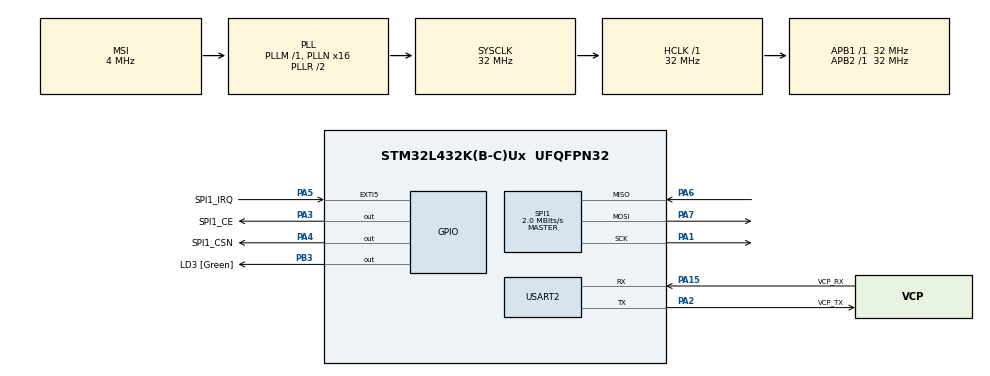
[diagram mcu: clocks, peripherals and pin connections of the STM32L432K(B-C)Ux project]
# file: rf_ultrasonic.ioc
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Mcu.Family=STM32L4
PA6.Mode=Full_Duplex_Master
RCC.CortexFreq_Value=32000000
SPI1.VirtualType=VM_MASTER
PA0.GPIO_Label=MCO [High speed clock in]
PA15\ (JTDI).Signal=USART2_RX
PC15-OSC32_OUT\ (PC15).Mode=LSE-External-Oscillator
RCC.SYSCLKSource=RCC_SYSCLKSOURCE_PLLCLK
ProjectManager.StackSize=0x400
PB3\ (JTDO-TRACESWO).Signal=GPIO_Output
PC14-OSC32_IN\ (PC14).Mode=LSE-External-Oscillator
PA14\ (JTCK-SWCLK).Signal=SYS_JTCK-SWCLK
PA15\ (JTDI).Mode=Asynchronous
SPI1.Direction=SPI_DIRECTION_2LINES
RCC.HCLKFreq_Value=32000000
RCC.APB2TimFreq_Value=32000000
SPI1.CalculateBaudRate=2.0 MBits/s
RCC.AHBFreq_Value=32000000
RCC.HSE_VALUE=8000000
USART2.VirtualMode-Asynchronous=VM_ASYNC
RCC.PLLMUL=RCC_PLLMUL_4
SPI1.DataSize=SPI_DATASIZE_8BIT
PA0.Mode=HSE-External-Clock-Source-for-LittleOrca
PA0.Signal=RCC_CK_IN
Mcu.Package=UFQFPN32
PA6.Signal=SPI1_MISO
PA2.GPIO_Label=VCP_TX
RCC.APB1TimFreq_Value=32000000
PA13\ (JTMS-SWDIO).Signal=SYS_JTMS-SWDIO
SPI1.BaudRatePrescaler=SPI_BAUDRATEPRESCALER_16
PA4.GPIO_Label=SPI1_CSN
RCC.HSI48_VALUE=48000000
PA3.Signal=GPIO_Output
RCC.MSI_VALUE=4000000
PA14\ (JTCK-SWCLK).Mode=Serial_Wire
PA7.Mode=Full_Duplex_Master
PC15-OSC32_OUT\ (PC15).Signal=RCC_OSC32_OUT
PA14\ (JTCK-SWCLK).GPIO_Label=SWCLK
PB3\ (JTDO-TRACESWO).GPIO_Label=LD3 [Green]
RCC.HSI16_VALUE=16000000
ProjectManager.TargetToolchain=STM32CubeIDE
PA1.Signal=SPI1_SCK
PA5.Signal=GPXTI5
board=NUCLEO-L432KC
RCC.VCOOutputFreq_Value=64000000
RCC.APB2Freq_Value=32000000
PA1.Mode=Full_Duplex_Master
PA13\ (JTMS-SWDIO).GPIO_Label=SWDIO
SPI1.Mode=SPI_MODE_MASTER
PA15\ (JTDI).GPIO_Label=VCP_RX
Mcu.Name=STM32L432K(B-C)Ux
PA2.Signal=USART2_TX
PA13\ (JTMS-SWDIO).Mode=Serial_Wire
PA4.Signal=GPIO_Output
RCC.SYSCLKFreq_VALUE=32000000
PA5.GPIO_Label=SPI1_IRQ
PC14-OSC32_IN\ (PC14).Signal=RCC_OSC32_IN
ProjectManager.HeapSize=0x200
RCC.HSI_VALUE=16000000
NVIC.PriorityGroup=NVIC_PRIORITYGROUP_4
RCC.PLLN=16
PA2.Mode=Asynchronous
RCC.APB1Freq_Value=32000000
PA3.GPIO_Label=SPI1_CE
PA7.Signal=SPI1_MOSI

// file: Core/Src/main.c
/* USER CODE BEGIN Header */
/**
  ******************************************************************************
  * @file           : main.c
  * @brief          : Main program body
  ******************************************************************************
  * @attention
  *
  * <h2><center>&copy; Copyright (c) 2021 STMicroelectronics.
  * All rights reserved.</center></h2>
  *
  * This software component is licensed by ST under BSD 3-Clause license,
  * the "License"; You may not use this file except in compliance with the
  * License. You may obtain a copy of the License at:
  *                        opensource.org/licenses/BSD-3-Clause
  *
  ******************************************************************************
  */
/* USER CODE END Header */
#include "main.h"

/* USER CODE BEGIN Includes */
#include "stdio.h"
#include "nRF24_Defs.h"
#include "nRF24.h"
/* USER CODE END Includes */

SPI_HandleTypeDef hspi1;

UART_HandleTypeDef huart2;

/* USER CODE BEGIN PV */
volatile uint8_t nrf24_rx_flag, nrf24_tx_flag, nrf24_mr_flag;
uint8_t Nrf24_Message[NRF24_PAYLOAD_SIZE];
uint8_t Message[32];
uint8_t MessageLength;

struct
{
	float vbat;
	float distance;
}rf_msg;

union
{
	uint32_t rf_msg_byte;
	struct
	{
		float vbat;
		float distance;
	};
} rf_msg_2;

/* USER CODE END PV */

void SystemClock_Config(void);
static void MX_GPIO_Init(void);
static void MX_USART2_UART_Init(void);
static void MX_SPI1_Init(void);

int main(void)
{

  /* MCU Configuration--------------------------------------------------------*/

  /* Reset of all peripherals, Initializes the Flash interface and the Systick. */
  HAL_Init();

  /* Configure the system clock */
  SystemClock_Config();

  /* Initialize all configured peripherals */
  MX_GPIO_Init();
  MX_USART2_UART_Init();
  MX_SPI1_Init();
  /* USER CODE BEGIN 2 */
  nRF24_Init(&hspi1);
  nRF24_SetRXAddress(0, "RX");
  nRF24_SetTXAddress("TX");
  nRF24_TX_Mode();
  uint32_t i;
  rf_msg.vbat = 1.2345678;
  rf_msg.distance = 87.654321;

  rf_msg_2.vbat = 1.2345678;
  rf_msg_2.distance = 87.654321;
  /* USER CODE END 2 */

  /* Infinite loop */
  /* USER CODE BEGIN WHILE */
  while (1)
  {
	  MessageLength = sprintf( Message, "%lx%lx", *(uint32_t*)&rf_msg.vbat, *(uint32_t*)&rf_msg.distance );
	  //MessageLength = sprintf(Message, "%lx", rf_msg_2.rf_msg_byte);

	  nRF24_WriteTXPayload(Message);
	  HAL_Delay(1);
	  nRF24_WaitTX();
	  HAL_Delay(1000);
    /* USER CODE END WHILE */

  }
}

void SystemClock_Config(void)
{
  RCC_OscInitTypeDef RCC_OscInitStruct = {0};
  RCC_ClkInitTypeDef RCC_ClkInitStruct = {0};
  RCC_PeriphCLKInitTypeDef PeriphClkInit = {0};

  /** Configure LSE Drive Capability
  */
  HAL_PWR_EnableBkUpAccess();
  __HAL_RCC_LSEDRIVE_CONFIG(RCC_LSEDRIVE_LOW);
  /** Initializes the RCC Oscillators according to the specified parameters
  * in the RCC_OscInitTypeDef structure.
  */
  RCC_OscInitStruct.OscillatorType = RCC_OSCILLATORTYPE_LSE|RCC_OSCILLATORTYPE_MSI;
  RCC_OscInitStruct.LSEState = RCC_LSE_ON;
  RCC_OscInitStruct.MSIState = RCC_MSI_ON;
  RCC_OscInitStruct.MSICalibrationValue = 0;
  RCC_OscInitStruct.MSIClockRange = RCC_MSIRANGE_6;
  RCC_OscInitStruct.PLL.PLLState = RCC_PLL_ON;
  RCC_OscInitStruct.PLL.PLLSource = RCC_PLLSOURCE_MSI;
  RCC_OscInitStruct.PLL.PLLM = 1;
  RCC_OscInitStruct.PLL.PLLN = 16;
  RCC_OscInitStruct.PLL.PLLP = RCC_PLLP_DIV7;
  RCC_OscInitStruct.PLL.PLLQ = RCC_PLLQ_DIV2;
  RCC_OscInitStruct.PLL.PLLR = RCC_PLLR_DIV2;
  if (HAL_RCC_OscConfig(&RCC_OscInitStruct) != HAL_OK)
  {
    Error_Handler();
  }
  /** Initializes the CPU, AHB and APB buses clocks
  */
  RCC_ClkInitStruct.ClockType = RCC_CLOCKTYPE_HCLK|RCC_CLOCKTYPE_SYSCLK
                              |RCC_CLOCKTYPE_PCLK1|RCC_CLOCKTYPE_PCLK2;
  RCC_ClkInitStruct.SYSCLKSource = RCC_SYSCLKSOURCE_PLLCLK;
  RCC_ClkInitStruct.AHBCLKDivider = RCC_SYSCLK_DIV1;
  RCC_ClkInitStruct.APB1CLKDivider = RCC_HCLK_DIV1;
  RCC_ClkInitStruct.APB2CLKDivider = RCC_HCLK_DIV1;

  if (HAL_RCC_ClockConfig(&RCC_ClkInitStruct, FLASH_LATENCY_1) != HAL_OK)
  {
    Error_Handler();
  }
  PeriphClkInit.PeriphClockSelection = RCC_PERIPHCLK_USART2;
  PeriphClkInit.Usart2ClockSelection = RCC_USART2CLKSOURCE_PCLK1;
  if (HAL_RCCEx_PeriphCLKConfig(&PeriphClkInit) != HAL_OK)
  {
    Error_Handler();
  }
  /** Configure the main internal regulator output voltage
  */
  if (HAL_PWREx_ControlVoltageScaling(PWR_REGULATOR_VOLTAGE_SCALE1) != HAL_OK)
  {
    Error_Handler();
  }
  /** Enable MSI Auto calibration
  */
  HAL_RCCEx_EnableMSIPLLMode();
}

static void MX_SPI1_Init(void)
{

  /* SPI1 parameter configuration*/
  hspi1.Instance = SPI1;
  hspi1.Init.Mode = SPI_MODE_MASTER;
  hspi1.Init.Direction = SPI_DIRECTION_2LINES;
  hspi1.Init.DataSize = SPI_DATASIZE_8BIT;
  hspi1.Init.CLKPolarity = SPI_POLARITY_LOW;
  hspi1.Init.CLKPhase = SPI_PHASE_1EDGE;
  hspi1.Init.NSS = SPI_NSS_SOFT;
  hspi1.Init.BaudRatePrescaler = SPI_BAUDRATEPRESCALER_16;
  hspi1.Init.FirstBit = SPI_FIRSTBIT_MSB;
  hspi1.Init.TIMode = SPI_TIMODE_DISABLE;
  hspi1.Init.CRCCalculation = SPI_CRCCALCULATION_DISABLE;
  hspi1.Init.CRCPolynomial = 7;
  hspi1.Init.CRCLength = SPI_CRC_LENGTH_DATASIZE;
  hspi1.Init.NSSPMode = SPI_NSS_PULSE_ENABLE;
  if (HAL_SPI_Init(&hspi1) != HAL_OK)
  {
    Error_Handler();
  }

}

static void MX_USART2_UART_Init(void)
{

  huart2.Instance = USART2;
  huart2.Init.BaudRate = 115200;
  huart2.Init.WordLength = UART_WORDLENGTH_8B;
  huart2.Init.StopBits = UART_STOPBITS_1;
  huart2.Init.Parity = UART_PARITY_NONE;
  huart2.Init.Mode = UART_MODE_TX_RX;
  huart2.Init.HwFlowCtl = UART_HWCONTROL_NONE;
  huart2.Init.OverSampling = UART_OVERSAMPLING_16;
  huart2.Init.OneBitSampling = UART_ONE_BIT_SAMPLE_DISABLE;
  huart2.AdvancedInit.AdvFeatureInit = UART_ADVFEATURE_NO_INIT;
  if (HAL_UART_Init(&huart2) != HAL_OK)
  {
    Error_Handler();
  }

}

static void MX_GPIO_Init(void)
{
  GPIO_InitTypeDef GPIO_InitStruct = {0};

  /* GPIO Ports Clock Enable */
  __HAL_RCC_GPIOC_CLK_ENABLE();
  __HAL_RCC_GPIOA_CLK_ENABLE();
  __HAL_RCC_GPIOB_CLK_ENABLE();

  /*Configure GPIO pin Output Level */
  HAL_GPIO_WritePin(GPIOA, SPI1_CE_Pin|SPI1_CSN_Pin, GPIO_PIN_RESET);

  /*Configure GPIO pin Output Level */
  HAL_GPIO_WritePin(LD3_GPIO_Port, LD3_Pin, GPIO_PIN_RESET);

  /*Configure GPIO pins : SPI1_CE_Pin SPI1_CSN_Pin */
  GPIO_InitStruct.Pin = SPI1_CE_Pin|SPI1_CSN_Pin;
  GPIO_InitStruct.Mode = GPIO_MODE_OUTPUT_PP;
  GPIO_InitStruct.Pull = GPIO_NOPULL;
  GPIO_InitStruct.Speed = GPIO_SPEED_FREQ_LOW;
  HAL_GPIO_Init(GPIOA, &GPIO_InitStruct);

  /*Configure GPIO pin : SPI1_IRQ_Pin */
  GPIO_InitStruct.Pin = SPI1_IRQ_Pin;
  GPIO_InitStruct.Mode = GPIO_MODE_IT_RISING;
  GPIO_InitStruct.Pull = GPIO_NOPULL;
  HAL_GPIO_Init(SPI1_IRQ_GPIO_Port, &GPIO_InitStruct);

  /*Configure GPIO pin : LD3_Pin */
  GPIO_InitStruct.Pin = LD3_Pin;
  GPIO_InitStruct.Mode = GPIO_MODE_OUTPUT_PP;
  GPIO_InitStruct.Pull = GPIO_NOPULL;
  GPIO_InitStruct.Speed = GPIO_SPEED_FREQ_LOW;
  HAL_GPIO_Init(LD3_GPIO_Port, &GPIO_InitStruct);

}

void Error_Handler(void)
{
  __disable_irq();
  while (1)
  {
  }
}

/************************ (C) COPYRIGHT STMicroelectronics *****END OF FILE****/
